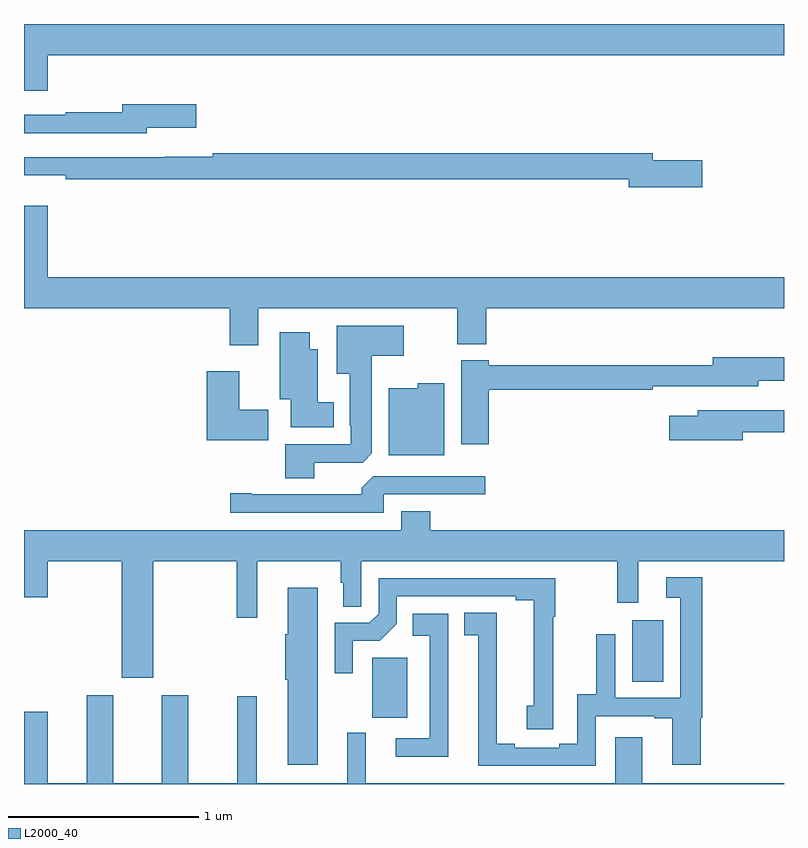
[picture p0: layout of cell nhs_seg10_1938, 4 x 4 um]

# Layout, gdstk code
import gdstk
lib = gdstk.Library(unit=1e-6, precision=1e-09)
def R(c, l, rs):  # rectangles x0, y0, x1, y1
    for r in rs: c.add(gdstk.rectangle(r[:2], r[2:], *l))
def P(c, l, *ps):  # polygons
    for p in ps: c.add(gdstk.Polygon(p, *l))
L2000_40 = (2000, 40)

nhs_seg10_1938 = lib.new_cell('nhs_seg10_1938')
R(nhs_seg10_1938, L2000_40, [(214.832,1276.85,215.017,1277.164), (216.2,1277.038,216.364,1277.362)])
P(nhs_seg10_1938, L2000_40, [(213.124,1280.336),(217,1280.336),(217,1280.5),(213,1280.5),(213,1280.148),(213.124,1280.148)],
  [(213.646,1279.955),(213.907,1279.955),(213.907,1280.077),(213.518,1280.077),(213.518,1280.035),(213.22,1280.035),(213.22,1280.022),(213,1280.022),(213,1279.926),(213.646,1279.926)],
  [(216.571,1279.784),(216.31,1279.784),(216.31,1279.82),(213.994,1279.82),(213.994,1279.801),(213.742,1279.801),(213.742,1279.8),(213,1279.8),(213,1279.703),(213.22,1279.703),(213.22,1279.684),(216.182,1279.684),(216.182,1279.642),(216.571,1279.642)],
  [(214.234,1279.004),(215.279,1279.004),(215.279,1278.815),(215.432,1278.815),(215.432,1279.004),(217,1279.004),(217,1279.168),(213.124,1279.168),(213.124,1279.543),(213,1279.543),(213,1279.004),(214.082,1279.004),(214.082,1278.81),(214.234,1278.81)],
  [(214.528,1278.192),(214.782,1278.192),(214.831,1278.241),(214.831,1278.755),(214.999,1278.755),(214.999,1278.913),(214.646,1278.913),(214.646,1278.659),(214.715,1278.659),(214.715,1278.385),(214.719,1278.385),(214.719,1278.288),(214.376,1278.288),(214.376,1278.109),(214.528,1278.109)],
  [(214.63,1278.508),(214.546,1278.508),(214.546,1278.787),(214.504,1278.787),(214.504,1278.877),(214.346,1278.877),(214.346,1278.524),(214.403,1278.524),(214.403,1278.377),(214.63,1278.377)],
  [(215.447,1278.574),(216.308,1278.574),(216.308,1278.594),(216.865,1278.594),(216.865,1278.623),(217,1278.623),(217,1278.745),(216.626,1278.745),(216.626,1278.703),(215.447,1278.703),(215.447,1278.73),(215.3,1278.73),(215.3,1278.288),(215.447,1278.288)],
  [(214.285,1278.471),(214.132,1278.471),(214.132,1278.673),(213.962,1278.673),(213.962,1278.308),(214.285,1278.308)],
  [(215.212,1278.61),(215.073,1278.61),(215.073,1278.583),(214.919,1278.583),(214.919,1278.23),(215.212,1278.23)],
  [(216.784,1278.352),(217,1278.352),(217,1278.468),(216.545,1278.468),(216.545,1278.439),(216.396,1278.439),(216.396,1278.31),(216.784,1278.31)],
  [(214.893,1278.024),(215.428,1278.024),(215.428,1278.12),(214.839,1278.12),(214.778,1278.058),(214.778,1278.024),(214.198,1278.024),(214.198,1278.029),(214.086,1278.029),(214.086,1277.928),(214.893,1277.928)],
  [(213.679,1277.672),(214.119,1277.672),(214.119,1277.376),(214.228,1277.376),(214.228,1277.672),(214.668,1277.672),(214.668,1277.559),(214.679,1277.559),(214.679,1277.434),(214.776,1277.434),(214.776,1277.672),(216.123,1277.672),(216.123,1277.454),(216.232,1277.454),(216.232,1277.672),(217,1277.672),(217,1277.836),(215.138,1277.836),(215.138,1277.935),(214.985,1277.935),(214.985,1277.836),(213,1277.836),(213,1277.484),(213.124,1277.484),(213.124,1277.672),(213.515,1277.672),(213.515,1277.058),(213.679,1277.058)],
  [(216.009,1276.857),(216.317,1276.857),(216.317,1276.845),(216.413,1276.845),(216.413,1276.602),(216.563,1276.602),(216.563,1276.85),(216.569,1276.85),(216.569,1277.587),(216.381,1277.587),(216.381,1277.481),(216.453,1277.481),(216.453,1276.953),(216.111,1276.953),(216.111,1277.287),(216.013,1277.287),(216.013,1276.973),(215.913,1276.973),(215.913,1276.712),(215.816,1276.712),(215.816,1276.692),(215.584,1276.692),(215.584,1276.712),(215.488,1276.712),(215.488,1276.993),(215.489,1276.993),(215.489,1277.402),(215.317,1277.402),(215.317,1277.284),(215.39,1277.284),(215.39,1276.596),(216.009,1276.596)],
  [(215.785,1277.38),(215.795,1277.38),(215.795,1277.583),(214.866,1277.583),(214.866,1277.397),(214.818,1277.349),(214.635,1277.349),(214.635,1277.082),(214.731,1277.082),(214.731,1277.253),(214.872,1277.253),(214.962,1277.343),(214.962,1277.487),(215.588,1277.487),(215.588,1277.467),(215.684,1277.467),(215.684,1276.912),(215.645,1276.912),(215.645,1276.788),(215.785,1276.788)],
  [(214.546,1277.533),(214.388,1277.533),(214.388,1277.288),(214.376,1277.288),(214.376,1277.05),(214.388,1277.05),(214.388,1276.602),(214.546,1276.602)],
  [(215.233,1277.194),(215.232,1277.194),(215.232,1277.397),(215.047,1277.397),(215.047,1277.281),(215.136,1277.281),(215.136,1276.74),(214.956,1276.74),(214.956,1276.643),(215.233,1276.643)],
  [(217,1276.504),(216.253,1276.504),(216.253,1276.747),(216.113,1276.747),(216.113,1276.504),(214.798,1276.504),(214.798,1276.771),(214.7,1276.771),(214.7,1276.504),(214.225,1276.504),(214.225,1276.963),(214.123,1276.963),(214.123,1276.504),(213.865,1276.504),(213.865,1276.966),(213.725,1276.966),(213.725,1276.504),(213.469,1276.504),(213.469,1276.966),(213.329,1276.966),(213.329,1276.504),(213.124,1276.504),(213.124,1276.879),(213,1276.879),(213,1276.5),(217,1276.5)])

lib.write_gds('nhs_seg10_1938.gds')
